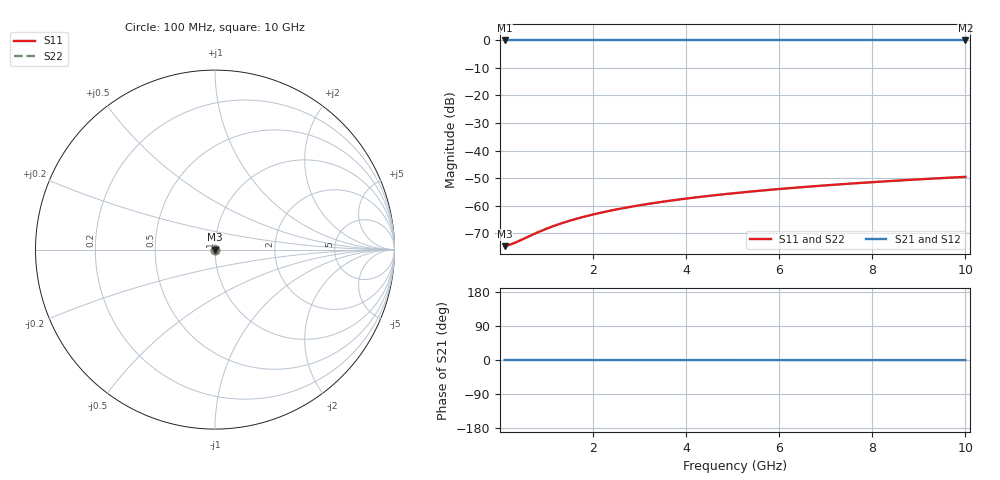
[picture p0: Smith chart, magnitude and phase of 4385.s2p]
# Hz S RI R 50.00
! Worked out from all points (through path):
!   100 points, 100 MHz to 10 GHz, reference 50 ohm
!   highest |S21| = 0.00 dB at 100 MHz (marker M1); lowest = 0.0 dB at 10 GHz (marker M2)
!   lowest |S11| = -74.8 dB at 100 MHz (marker M3), VSWR 1.00, Z = 50 + j0.00331 ohm
!   |S11| at or under -10 dB: start of sweep to end of sweep
!   |S22| runs from -74.8 to -49.6 dB; largest |S21 - S12| = 0
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1e8  0.00018 3.31e-05  0.9998 -4.54e-05  0.9998 -4.54e-05  0.00018 3.31e-05
2e8  0.000181 6.61e-05  0.9998 -9.08e-05  0.9998 -9.08e-05  0.000181 6.61e-05
3e8  0.000182 9.92e-05  0.9998 -0.000136  0.9998 -0.000136  0.000182 9.92e-05
8e8  0.000185 0.000264  0.9998 -0.000363  0.9998 -0.000363  0.000185 0.000264
9e8  0.000185 0.000297  0.9998 -0.000408  0.9998 -0.000408  0.000185 0.000297
1.1e9  0.000186 0.000364  0.9998 -0.000499  0.9998 -0.000499  0.000186 0.000364
1.4e9  0.000187 0.000463  0.9998 -0.000635  0.9998 -0.000635  0.000187 0.000463
1.6e9  0.000187 0.000529  0.9998 -0.000726  0.9998 -0.000726  0.000187 0.000529
1.8e9  0.000188 0.000595  0.9998 -0.000817  0.9998 -0.000817  0.000188 0.000595
2.1e9  0.000189 0.000694  0.9998 -0.000953  0.9998 -0.000953  0.000189 0.000694
2.5e9  0.00019 0.000826  0.9998 -0.00113  0.9998 -0.00113  0.00019 0.000826
2.9e9  0.000191 0.000959  0.9998 -0.00132  0.9998 -0.00132  0.000191 0.000959
3.4e9  0.000192 0.00112  0.9998 -0.00154  0.9998 -0.00154  0.000192 0.00112
3.8e9  0.000194 0.00126  0.9998 -0.00173  0.9998 -0.00173  0.000194 0.00126
4.2e9  0.000195 0.00139  0.9998 -0.00191  0.9998 -0.00191  0.000195 0.00139
4.6e9  0.000196 0.00152  0.9998 -0.00209  0.9998 -0.00209  0.000196 0.00152
5.1e9  0.000197 0.00169  0.9998 -0.00232  0.9998 -0.00232  0.000197 0.00169
5.9e9  0.0002 0.00195  0.9998 -0.00268  0.9998 -0.00268  0.0002 0.00195
6.7e9  0.000202 0.00222  0.9998 -0.00305  0.9998 -0.00305  0.000202 0.00222
7.5e9  0.000205 0.00248  0.9998 -0.00341  0.9998 -0.00341  0.000205 0.00248
8.4e9  0.000209 0.00278  0.9998 -0.00382  0.9998 -0.00382  0.000209 0.00278
1e10  0.000215 0.00332  0.9998 -0.00455  0.9998 -0.00455  0.000215 0.00332
